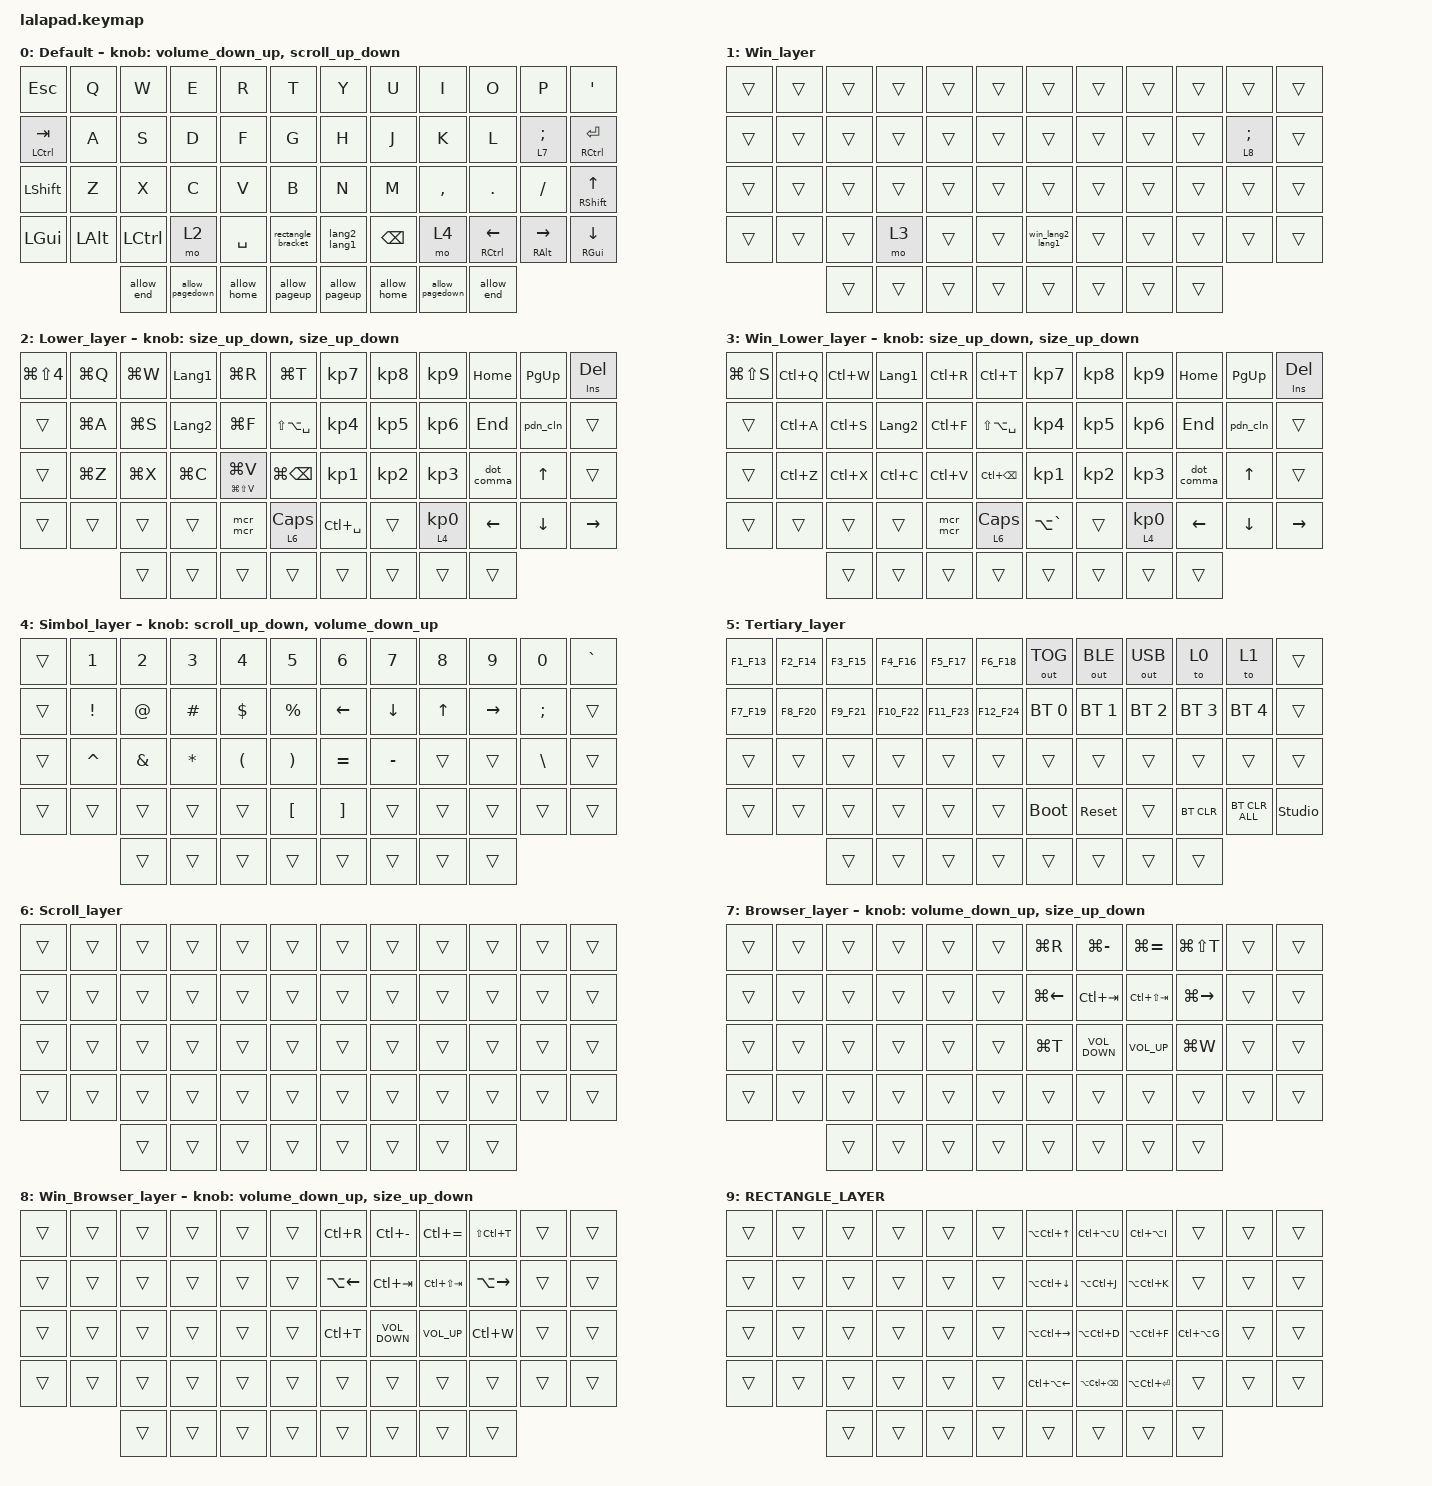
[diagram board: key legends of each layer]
#include <input/processors.dtsi>
#include <behaviors.dtsi>
#include <dt-bindings/zmk/bt.h>
#include <dt-bindings/zmk/keys.h>
#include <dt-bindings/zmk/outputs.h>
#include <dt-bindings/zmk/pointing.h>

#define DEFAULT_LAYER      0
#define WIN_LAYER          1
#define LOWER_LAYER        2
#define WIN_LOWER_LAYER    3
#define SIMBOL_LAYER       4
#define TERTIARY_LAYER     5
#define SCROLL_LAYER       6

// Mouse Scroll Value

#define ZMK_POINTING_DEFAULT_SCRL_VAL 100

// cirque trackpad input&layer control

&glidepoint_listener_R {
    input-processors =
        <&zip_xy_transform (INPUT_TRANSFORM_XY_SWAP | INPUT_TRANSFORM_X_INVERT | INPUT_TRANSFORM_Y_INVERT)>,
        <&zip_xy_scaler 3 2>;

    lowspeedmode {
        layers = <LOWER_LAYER WIN_LOWER_LAYER>;
        input-processors =
            <&zip_xy_transform (INPUT_TRANSFORM_XY_SWAP | INPUT_TRANSFORM_X_INVERT | INPUT_TRANSFORM_Y_INVERT)>,
            <&zip_xy_scaler 3 5>;
    };

    scroller {
        layers = <SCROLL_LAYER>;
        input-processors =
            <&zip_xy_to_scroll_mapper>,
            <&zip_scroll_transform (INPUT_TRANSFORM_XY_SWAP | INPUT_TRANSFORM_X_INVERT)>,
            <&zip_scroll_scaler 1 16>;
    };
};

&glidepoint_listener_L {
    input-processors =
        <&zip_xy_transform (INPUT_TRANSFORM_XY_SWAP | INPUT_TRANSFORM_X_INVERT | INPUT_TRANSFORM_Y_INVERT)>,
        <&zip_xy_scaler 3 2>;

    scroller {
        layers = <DEFAULT_LAYER>;
        input-processors =
            <&zip_xy_to_scroll_mapper>,
            <&zip_scroll_transform (INPUT_TRANSFORM_XY_SWAP | INPUT_TRANSFORM_X_INVERT)>,
            <&zip_scroll_scaler 1 16>;
    };
};

/ {
    behaviors {
        // Encoder to Mouse Scroll

        scroll_up_down: behavior_sensor_rotate_mouse_wheel_up_down {
            compatible = "zmk,behavior-sensor-rotate";
            #sensor-binding-cells = <0>;
            bindings = <&msc SCRL_UP>, <&msc SCRL_DOWN>;

            tap-ms = <20>;
        };

        scroll_down_up: behavior_sensor_rotate_mouse_wheel_down_up {
            compatible = "zmk,behavior-sensor-rotate";
            #sensor-binding-cells = <0>;
            bindings = <&msc SCRL_DOWN>, <&msc SCRL_UP>;

            tap-ms = <20>;
        };

        scroll_left_right: behavior_sensor_rotate_mouse_wheel_left_right {
            compatible = "zmk,behavior-sensor-rotate";
            #sensor-binding-cells = <0>;
            bindings = <&msc SCRL_LEFT>, <&msc SCRL_RIGHT>;

            tap-ms = <20>;
        };

        scroll_right_left: behavior_sensor_rotate_mouse_wheel_right_left {
            compatible = "zmk,behavior-sensor-rotate";
            #sensor-binding-cells = <0>;
            bindings = <&msc SCRL_RIGHT>, <&msc SCRL_LEFT>;

            tap-ms = <20>;
        };

        volume_up_down: behavior_sensor_rotate_volume_up_down {
            compatible = "zmk,behavior-sensor-rotate";
            #sensor-binding-cells = <0>;
            bindings = <&kp C_VOLUME_UP>, <&kp C_VOLUME_DOWN>;

            tap-ms = <20>;
        };

        volume_down_up: behavior_sensor_rotate_volume_down_up {
            compatible = "zmk,behavior-sensor-rotate";
            label = "VOLUME_DOWN_UP";
            #sensor-binding-cells = <0>;
            bindings = <&kp C_VOLUME_DOWN>, <&kp C_VOLUME_UP>;

            tap-ms = <29>;
        };

        size_up_down: behavior_sensor_rotate_size_up_down {
            compatible = "zmk,behavior-sensor-rotate";
            label = "SIZE_UP_DOWN";
            #sensor-binding-cells = <0>;
            bindings = <&kp LG(MINUS)>, <&kp LG(LS(EQUAL))>;

            tap-ms = <20>;
        };

        dot_comma: dot_comma {
            compatible = "zmk,behavior-mod-morph";
            #binding-cells = <0>;
            bindings = <&kp KP_DOT>, <&kp COMMA>;

            mods = <(MOD_LSFT|MOD_RSFT)>;
            label = "DOT_COMMA";
        };

        allow_pageup: allow_pageup {
            compatible = "zmk,behavior-mod-morph";
            #binding-cells = <0>;
            bindings = <&kp UP>, <&kp PAGE_UP>;

            mods = <(MOD_LCTL|MOD_RCTL)>;
            label = "ALLOW_PAGEUP";
        };

        allow_pagedown: allow_pagedown {
            compatible = "zmk,behavior-mod-morph";
            #binding-cells = <0>;
            bindings = <&kp DOWN>, <&kp PAGE_DOWN>;

            mods = <(MOD_LCTL|MOD_RCTL)>;
            label = "ALLOW_PAGEDOWN";
        };

        allow_home: allow_home {
            compatible = "zmk,behavior-mod-morph";
            #binding-cells = <0>;
            bindings = <&kp LEFT>, <&kp HOME>;

            mods = <(MOD_LCTL|MOD_RCTL)>;
            label = "ALLOW_HOME";
        };

        allow_end: allow_end {
            compatible = "zmk,behavior-mod-morph";
            #binding-cells = <0>;
            bindings = <&kp RIGHT>, <&kp END>;

            mods = <(MOD_LCTL|MOD_RCTL)>;
            label = "ALLOW_END";
        };

        mt2: mod_tap2 {
            compatible = "zmk,behavior-hold-tap";
            #binding-cells = <2>;
            flavor = "tap-preferred";
            tapping-term-ms = <200>;
            quick-tap-ms = <200>;
            require-prior-idle-ms = <125>;
            bindings = <&kp>, <&kp>;
        };

        lang2_lang1: lang2_lang1 {
            compatible = "zmk,behavior-tap-dance";
            label = "LANG2_LANG1";
            #binding-cells = <0>;
            bindings = <&kp LANGUAGE_2>, <&kp LANGUAGE_1>, <&kp LC(SPACE)>;
        };

        win_lang2_lang1: win_lang2_lang1 {
            compatible = "zmk,behavior-tap-dance";
            label = "WIN_LANG2_LANG1";
            #binding-cells = <0>;
            bindings = <&kp LANGUAGE_2>, <&kp LANGUAGE_1>, <&kp LA(GRAVE)>;
        };

        pdn_cln: pdn_cln {
            compatible = "zmk,behavior-mod-morph";
            #binding-cells = <0>;
            bindings = <&kp PAGE_DOWN>, <&kp COLON>;

            mods = <(MOD_LSFT|MOD_RSFT)>;
            label = "PDN_CLN";
        };

        F1_F13: F1_F13 {
            compatible = "zmk,behavior-mod-morph";
            #binding-cells = <0>;
            bindings = <&kp F1>, <&kp F13>;

            mods = <(MOD_LSFT|MOD_RSFT)>;
            label = "F1_F13";
        };

        F2_F14: F2_F14 {
            compatible = "zmk,behavior-mod-morph";
            #binding-cells = <0>;
            bindings = <&kp F2>, <&kp F14>;

            mods = <(MOD_LSFT|MOD_RSFT)>;
            label = "F2_F14";
        };

        F3_F15: F3_F15 {
            compatible = "zmk,behavior-mod-morph";
            #binding-cells = <0>;
            bindings = <&kp F3>, <&kp F15>;

            mods = <(MOD_LSFT|MOD_RSFT)>;
            label = "F3_F15";
        };

        F4_F16: F4_F16 {
            compatible = "zmk,behavior-mod-morph";
            #binding-cells = <0>;
            bindings = <&kp F4>, <&kp F16>;

            mods = <(MOD_LSFT|MOD_RSFT)>;
            label = "F4_F16";
        };

        F5_F17: F5_F17 {
            compatible = "zmk,behavior-mod-morph";
            #binding-cells = <0>;
            bindings = <&kp F5>, <&kp F17>;

            mods = <(MOD_LSFT|MOD_RSFT)>;
            label = "F5_F17";
        };

        F6_F18: F6_F18 {
            compatible = "zmk,behavior-mod-morph";
            #binding-cells = <0>;
            bindings = <&kp F6>, <&kp F18>;

            mods = <(MOD_LSFT|MOD_RSFT)>;
            label = "F6_F18";
        };

        F7_F19: F7_F19 {
            compatible = "zmk,behavior-mod-morph";
            #binding-cells = <0>;
            bindings = <&kp F7>, <&kp F19>;

            mods = <(MOD_LSFT|MOD_RSFT)>;
            label = "F7_F19";
        };

        F8_F20: F8_F20 {
            compatible = "zmk,behavior-mod-morph";
            #binding-cells = <0>;
            bindings = <&kp F8>, <&kp F20>;

            mods = <(MOD_LSFT|MOD_RSFT)>;
            label = "F8_F20";
        };

        F9_F21: F9_F21 {
            compatible = "zmk,behavior-mod-morph";
            #binding-cells = <0>;
            bindings = <&kp F9>, <&kp F21>;

            mods = <(MOD_LSFT|MOD_RSFT)>;
            label = "F9_F21";
        };

        F10_F22: F10_F22 {
            compatible = "zmk,behavior-mod-morph";
            #binding-cells = <0>;
            bindings = <&kp F10>, <&kp F22>;

            mods = <(MOD_LSFT|MOD_RSFT)>;
            label = "F10_F22";
        };

        F11_F23: F11_F23 {
            compatible = "zmk,behavior-mod-morph";
            #binding-cells = <0>;
            bindings = <&kp F11>, <&kp F23>;

            mods = <(MOD_LSFT|MOD_RSFT)>;
            label = "F11_F23";
        };

        F12_F24: F12_F24 {
            compatible = "zmk,behavior-mod-morph";
            #binding-cells = <0>;
            bindings = <&kp F12>, <&kp F24>;

            mods = <(MOD_LSFT|MOD_RSFT)>;
            label = "F12_F24";
        };

        rectangle_bracket: rectangle_bracket {
            compatible = "zmk,behavior-tap-dance";
            label = "RECTANGLE_BRACKET";
            #binding-cells = <0>;
            bindings = <&lt 10 LEFT_PARENTHESIS>, <&kp LEFT_BRACKET>;
        };
    };

    combos {
        compatible = "zmk,combos";

        equal {
            bindings = <&kp EQUAL>;
            key-positions = <7 6>;
            layers = <0 1>;
        };

        minus {
            bindings = <&kp MINUS>;
            key-positions = <7 8>;
            layers = <0 1>;
        };

        backslash {
            bindings = <&kp BACKSLASH>;
            key-positions = <9 8>;
            layers = <0 1>;
        };

        grave {
            bindings = <&kp GRAVE>;
            key-positions = <9 10>;
            layers = <0 1>;
        };

        left_bracket {
            bindings = <&kp LEFT_BRACKET>;
            key-positions = <6 8 7>;
            layers = <0 1>;
        };

        right_bracket {
            bindings = <&kp RIGHT_BRACKET>;
            key-positions = <8 9 7>;
            layers = <0 1>;
        };

        quote {
            bindings = <&kp SINGLE_QUOTE>;
            key-positions = <8 9 10>;
            layers = <0 1>;
        };

        mcr {
            bindings = <&mcr_mcr>;
            key-positions = <10 11>;
            layers = <0 1>;
        };

        left_click {
            bindings = <&mkp LCLK>;
            key-positions = <19 20>;
            layers = <0 1 2 3 6>;
        };

        right_click {
            bindings = <&mkp RCLK>;
            key-positions = <21 20>;
            layers = <0 1 2 3 6>;
        };

        middle_click {
            bindings = <&mkp MCLK>;
            key-positions = <21 22>;
            layers = <0 1 2 3 6>;
        };

        scroll {
            bindings = <&mo 6>;
            key-positions = <19 20 21>;
            layers = <0 1>;
        };
    };

    macros {
        mcr_mcr: mcr_mcr {
            compatible = "zmk,behavior-macro";
            #binding-cells = <0>;
            bindings = <&kp LANGUAGE_2 &kp N1 &kp N5 &kp N6 &kp N4 &kp Y &kp U>;
            label = "MCR_MCR";
        };
    };

    keymap {
        compatible = "zmk,keymap";

        DEFAULT_LAYER {
            display-name = "Default";
            sensor-bindings = <&volume_down_up>, <&scroll_up_down>;

            bindings = <
&kp ESCAPE     &kp Q         &kp W       &kp E            &kp R        &kp T               &kp Y          &kp U          &kp I            &kp O           &kp P                      &kp SQT
&mt LCTRL TAB  &kp A         &kp S       &kp D            &kp F        &kp G               &kp H          &kp J          &kp K            &kp L           &lt 7 SEMICOLON            &mt RCTRL ENTER
&kp LSHIFT     &kp Z         &kp X       &kp C            &kp V        &kp B               &kp N          &kp M          &kp COMMA        &kp PERIOD      &kp SLASH                  &mt RSHIFT UP_ARROW
&kp LGUI       &kp LEFT_ALT  &kp LCTRL   &mo 2            &kp SPACE    &rectangle_bracket  &lang2_lang1   &kp BACKSPACE  &mo 4            &mt RCTRL LEFT  &mt RIGHT_ALT RIGHT_ARROW  &mt RGUI DOWN_ARROW
                             &allow_end  &allow_pagedown  &allow_home  &allow_pageup       &allow_pageup  &allow_home    &allow_pagedown  &allow_end
            >;
        };

        WIN_LAYER {
            display-name = "Win_layer";
            bindings = <
&trans  &trans  &trans  &trans  &trans  &trans  &trans            &trans  &trans  &trans  &trans           &trans
&trans  &trans  &trans  &trans  &trans  &trans  &trans            &trans  &trans  &trans  &lt 8 SEMICOLON  &trans
&trans  &trans  &trans  &trans  &trans  &trans  &trans            &trans  &trans  &trans  &trans           &trans
&trans  &trans  &trans  &mo 3   &trans  &trans  &win_lang2_lang1  &trans  &trans  &trans  &trans           &trans
                &trans  &trans  &trans  &trans  &trans            &trans  &trans  &trans
            >;
        };

        LOWER_LAYER {
            display-name = "Lower_layer";
            sensor-bindings = <&size_up_down>, <&size_up_down>;

            bindings = <
&kp LG(LS(NUMBER_4))  &kp LG(Q)  &kp LG(W)  &kp LANGUAGE_1  &kp LG(R)             &kp LG(T)          &kp KP_NUMBER_7  &kp KP_NUMBER_8  &kp KP_NUMBER_9    &kp HOME    &kp PAGE_UP   &mt2 INS DELETE
&trans                &kp LG(A)  &kp LG(S)  &kp LANGUAGE_2  &kp LG(F)             &kp LS(LA(SPACE))  &kp KP_NUMBER_4  &kp KP_NUMBER_5  &kp KP_NUMBER_6    &kp END     &pdn_cln      &trans
&trans                &kp LG(Z)  &kp LG(X)  &kp LG(C)       &mt2 LG(LS(V)) LG(V)  &kp LG(BACKSPACE)  &kp KP_NUMBER_1  &kp KP_NUMBER_2  &kp KP_NUMBER_3    &dot_comma  &kp UP_ARROW  &trans
&trans                &trans     &trans     &trans          &mcr_mcr              &lt 6 CAPSLOCK     &kp LC(SPACE)    &trans           &lt 4 KP_NUMBER_0  &kp LEFT    &kp DOWN      &kp RIGHT
                                 &trans     &trans          &trans                &trans             &trans           &trans           &trans             &trans
            >;
        };

        WIN_LOWER_LAYER {
            display-name = "Win_Lower_layer";
            sensor-bindings = <&size_up_down>, <&size_up_down>;

            bindings = <
&kp LG(LS(S))  &kp LC(Q)  &kp LC(W)  &kp LANGUAGE_1  &kp LC(R)  &kp LC(T)          &kp KP_NUMBER_7  &kp KP_NUMBER_8  &kp KP_NUMBER_9    &kp HOME    &kp PAGE_UP   &mt2 INS DELETE
&trans         &kp LC(A)  &kp LC(S)  &kp LANGUAGE_2  &kp LC(F)  &kp LS(LA(SPACE))  &kp KP_NUMBER_4  &kp KP_NUMBER_5  &kp KP_NUMBER_6    &kp END     &pdn_cln      &trans
&trans         &kp LC(Z)  &kp LC(X)  &kp LC(C)       &kp LC(V)  &kp LC(BACKSPACE)  &kp KP_NUMBER_1  &kp KP_NUMBER_2  &kp KP_NUMBER_3    &dot_comma  &kp UP_ARROW  &trans
&trans         &trans     &trans     &trans          &mcr_mcr   &lt 6 CAPS         &kp LA(GRAVE)    &trans           &lt 4 KP_NUMBER_0  &kp LEFT    &kp DOWN      &kp RIGHT
                          &trans     &trans          &trans     &trans             &trans           &trans           &trans             &trans
            >;
        };

        SIMBOL_LAYER {
            display-name = "Simbol_layer";
            sensor-bindings = <&scroll_up_down>, <&volume_down_up>;

            bindings = <
&trans  &kp N1           &kp N2    &kp N3        &kp N4                &kp N5                 &kp N6             &kp N7          &kp N8        &kp N9           &kp N0         &kp GRAVE
&trans  &kp EXCLAMATION  &kp AT    &kp HASH      &kp DOLLAR            &kp PERCENT            &kp LEFT_ARROW     &kp DOWN_ARROW  &kp UP_ARROW  &kp RIGHT_ARROW  &kp SEMICOLON  &trans
&trans  &kp CARET        &kp AMPS  &kp ASTERISK  &kp LEFT_PARENTHESIS  &kp RIGHT_PARENTHESIS  &kp EQUAL          &kp MINUS       &trans        &trans           &kp BACKSLASH  &trans
&trans  &trans           &trans    &trans        &trans                &kp LEFT_BRACKET       &kp RIGHT_BRACKET  &trans          &trans        &trans           &trans         &trans
                         &trans    &trans        &trans                &trans                 &trans             &trans          &trans        &trans
            >;
        };

        TERTIARY_LAYER {
            display-name = "Tertiary_layer";
            bindings = <
&F1_F13  &F2_F14  &F3_F15  &F4_F16   &F5_F17   &F6_F18   &out OUT_TOG  &out OUT_BLE  &out OUT_USB  &to 0         &to 1           &trans
&F7_F19  &F8_F20  &F9_F21  &F10_F22  &F11_F23  &F12_F24  &bt BT_SEL 0  &bt BT_SEL 1  &bt BT_SEL 2  &bt BT_SEL 3  &bt BT_SEL 4    &trans
&trans   &trans   &trans   &trans    &trans    &trans    &trans        &trans        &trans        &trans        &trans          &trans
&trans   &trans   &trans   &trans    &trans    &trans    &bootloader   &sys_reset    &trans        &bt BT_CLR    &bt BT_CLR_ALL  &studio_unlock
                  &trans   &trans    &trans    &trans    &trans        &trans        &trans        &trans
            >;
        };

        SCROLL_LAYER {
            display-name = "Scroll_layer";
            bindings = <
&trans  &trans  &trans  &trans  &trans  &trans  &trans  &trans  &trans  &trans  &trans  &trans
&trans  &trans  &trans  &trans  &trans  &trans  &trans  &trans  &trans  &trans  &trans  &trans
&trans  &trans  &trans  &trans  &trans  &trans  &trans  &trans  &trans  &trans  &trans  &trans
&trans  &trans  &trans  &trans  &trans  &trans  &trans  &trans  &trans  &trans  &trans  &trans
                &trans  &trans  &trans  &trans  &trans  &trans  &trans  &trans
            >;
        };

        BROWSER_LAYER {
            display-name = "Browser_layer";
            bindings = <
&trans  &trans  &trans  &trans  &trans  &trans  &kp LG(R)     &kp LG(MINUS)      &kp LG(EQUAL)    &kp LG(LS(T))  &trans  &trans
&trans  &trans  &trans  &trans  &trans  &trans  &kp LG(LEFT)  &kp LC(TAB)        &kp LC(LS(TAB))  &kp LG(RIGHT)  &trans  &trans
&trans  &trans  &trans  &trans  &trans  &trans  &kp LG(T)     &kp C_VOLUME_DOWN  &kp C_VOLUME_UP  &kp LG(W)      &trans  &trans
&trans  &trans  &trans  &trans  &trans  &trans  &trans        &trans             &trans           &trans         &trans  &trans
                &trans  &trans  &trans  &trans  &trans        &trans             &trans           &trans
            >;

            sensor-bindings = <&volume_down_up>, <&size_up_down>;
        };

        WIN_BROWSER_LAYER {
            display-name = "Win_Browser_layer";
            bindings = <
&trans  &trans  &trans  &trans  &trans  &trans  &kp LC(R)     &kp LC(MINUS)      &kp LC(EQUAL)    &kp LS(LC(T))  &trans  &trans
&trans  &trans  &trans  &trans  &trans  &trans  &kp LA(LEFT)  &kp LC(TAB)        &kp LC(LS(TAB))  &kp LA(RIGHT)  &trans  &trans
&trans  &trans  &trans  &trans  &trans  &trans  &kp LC(T)     &kp C_VOLUME_DOWN  &kp C_VOLUME_UP  &kp LC(W)      &trans  &trans
&trans  &trans  &trans  &trans  &trans  &trans  &trans        &trans             &trans           &trans         &trans  &trans
                &trans  &trans  &trans  &trans  &trans        &trans             &trans           &trans
            >;

            sensor-bindings = <&volume_down_up>, <&size_up_down>;
        };

        RECTANGLE_LAYER {
            bindings = <
&trans  &trans  &trans  &trans  &trans  &trans  &kp LA(LC(UP_ARROW))    &kp LC(LA(U))          &kp LC(LA(I))      &trans         &trans  &trans
&trans  &trans  &trans  &trans  &trans  &trans  &kp LA(LC(DOWN))        &kp LA(LC(J))          &kp LA(LC(K))      &trans         &trans  &trans
&trans  &trans  &trans  &trans  &trans  &trans  &kp LA(LC(RIGHT))       &kp LA(LC(D))          &kp LA(LC(F))      &kp LC(LA(G))  &trans  &trans
&trans  &trans  &trans  &trans  &trans  &trans  &kp LC(LA(LEFT_ARROW))  &kp LA(LC(BACKSPACE))  &kp LA(LC(ENTER))  &trans         &trans  &trans
                &trans  &trans  &trans  &trans  &trans                  &trans                 &trans             &trans
            >;
        };
    };

    conditional_layers {
        compatible = "zmk,conditional-layers";

        Tertiary {
            if-layers = <2 4>;
            then-layer = <5>;
        };

        Win_Tertiary {
            if-layers = <3 4>;
            then-layer = <5>;
        };
    };
};
